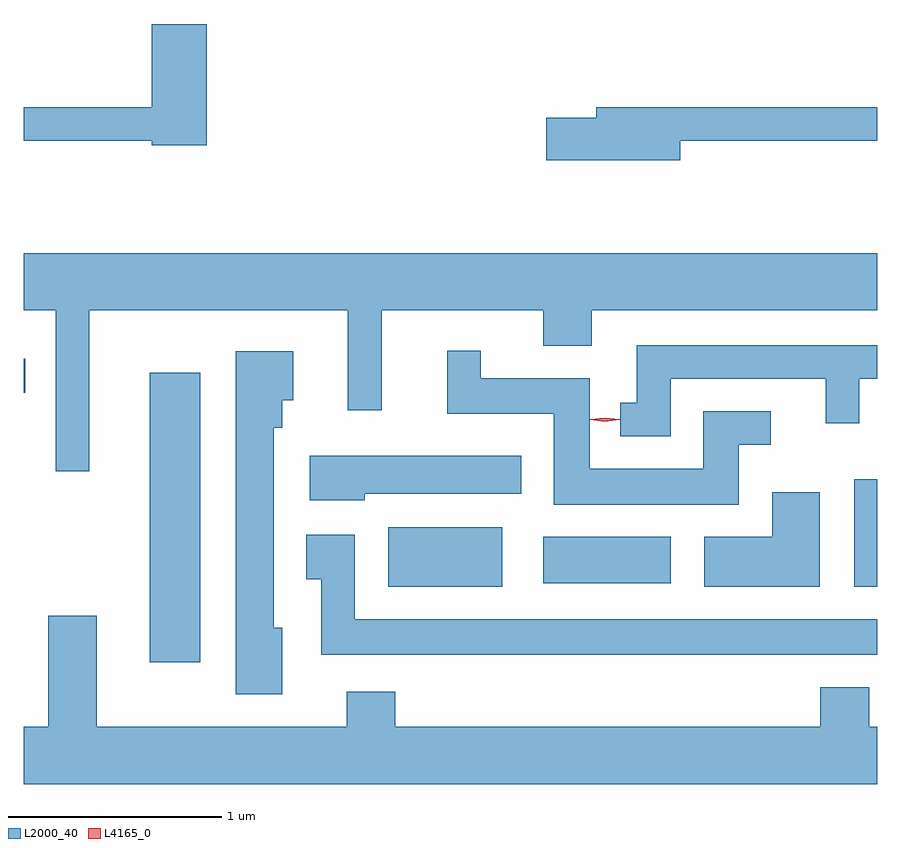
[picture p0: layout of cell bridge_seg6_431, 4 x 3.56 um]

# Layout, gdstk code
import gdstk
lib = gdstk.Library(unit=1e-6, precision=1e-09)
def R(c, l, rs):  # rectangles x0, y0, x1, y1
    for r in rs: c.add(gdstk.rectangle(r[:2], r[2:], *l))
def P(c, l, *ps):  # polygons
    for p in ps: c.add(gdstk.Polygon(p, *l))
L2000_40 = (2000, 40)
L4165_0 = (4165, 0)

bridge_seg6_431 = lib.new_cell('bridge_seg6_431')
R(bridge_seg6_431, L2000_40, [(808.366,1641.626,808.604,1642.984), (809.486,1641.981,810.019,1642.259), (811.671,1641.981,811.777,1642.484), (810.211,1641.996,810.809,1642.214), (807.777,1642.891,807.783,1643.049)])
P(bridge_seg6_431, L2000_40, [(808.634,1644.619),(808.376,1644.619),(808.376,1644.229),(807.777,1644.229),(807.777,1644.071),(808.376,1644.071),(808.376,1644.051),(808.634,1644.051)],
  [(810.854,1644.071),(811.777,1644.071),(811.777,1644.229),(810.461,1644.229),(810.461,1644.179),(810.226,1644.179),(810.226,1643.981),(810.854,1643.981)],
  [(808.084,1643.276),(809.296,1643.276),(809.296,1642.808),(809.454,1642.808),(809.454,1643.276),(810.211,1643.276),(810.211,1643.111),(810.439,1643.111),(810.439,1643.276),(811.777,1643.276),(811.777,1643.544),(807.777,1643.544),(807.777,1643.276),(807.926,1643.276),(807.926,1642.523),(808.084,1642.523)],
  [(810.809,1642.956),(811.536,1642.956),(811.536,1642.748),(811.694,1642.748),(811.694,1642.956),(811.777,1642.956),(811.777,1643.114),(810.651,1643.114),(810.651,1642.844),(810.573,1642.844),(810.573,1642.686),(810.809,1642.686)],
  [(811.129,1642.646),(811.278,1642.646),(811.278,1642.804),(810.961,1642.804),(810.961,1642.534),(810.429,1642.534),(810.429,1642.959),(809.919,1642.959),(809.919,1643.088),(809.761,1643.088),(809.761,1642.791),(810.261,1642.791),(810.261,1642.366),(811.129,1642.366)],
  [(808.989,1641.789),(808.949,1641.789),(808.949,1642.726),(808.989,1642.726),(808.989,1642.856),(809.039,1642.856),(809.039,1643.084),(808.771,1643.084),(808.771,1641.476),(808.989,1641.476)],
  [(809.374,1642.416),(810.109,1642.416),(810.109,1642.594),(809.116,1642.594),(809.116,1642.386),(809.374,1642.386)],
  [(811.509,1642.424),(811.286,1642.424),(811.286,1642.214),(810.966,1642.214),(810.966,1641.981),(811.509,1641.981)],
  [(811.777,1641.829),(809.329,1641.829),(809.329,1642.224),(809.101,1642.224),(809.101,1642.016),(809.171,1642.016),(809.171,1641.661),(811.777,1641.661)],
  [(811.777,1641.324),(811.739,1641.324),(811.739,1641.509),(811.511,1641.509),(811.511,1641.324),(809.519,1641.324),(809.519,1641.489),(809.291,1641.489),(809.291,1641.324),(808.119,1641.324),(808.119,1641.844),(807.891,1641.844),(807.891,1641.324),(807.777,1641.324),(807.777,1641.056),(811.777,1641.056)])
P(bridge_seg6_431, L4165_0, [(810.501,1642.755),(810.432,1642.764),(810.432,1642.764),(810.432,1642.765),(810.501,1642.774),(810.571,1642.765),(810.571,1642.765),(810.571,1642.764)])

lib.write_gds('bridge_seg6_431.gds')
